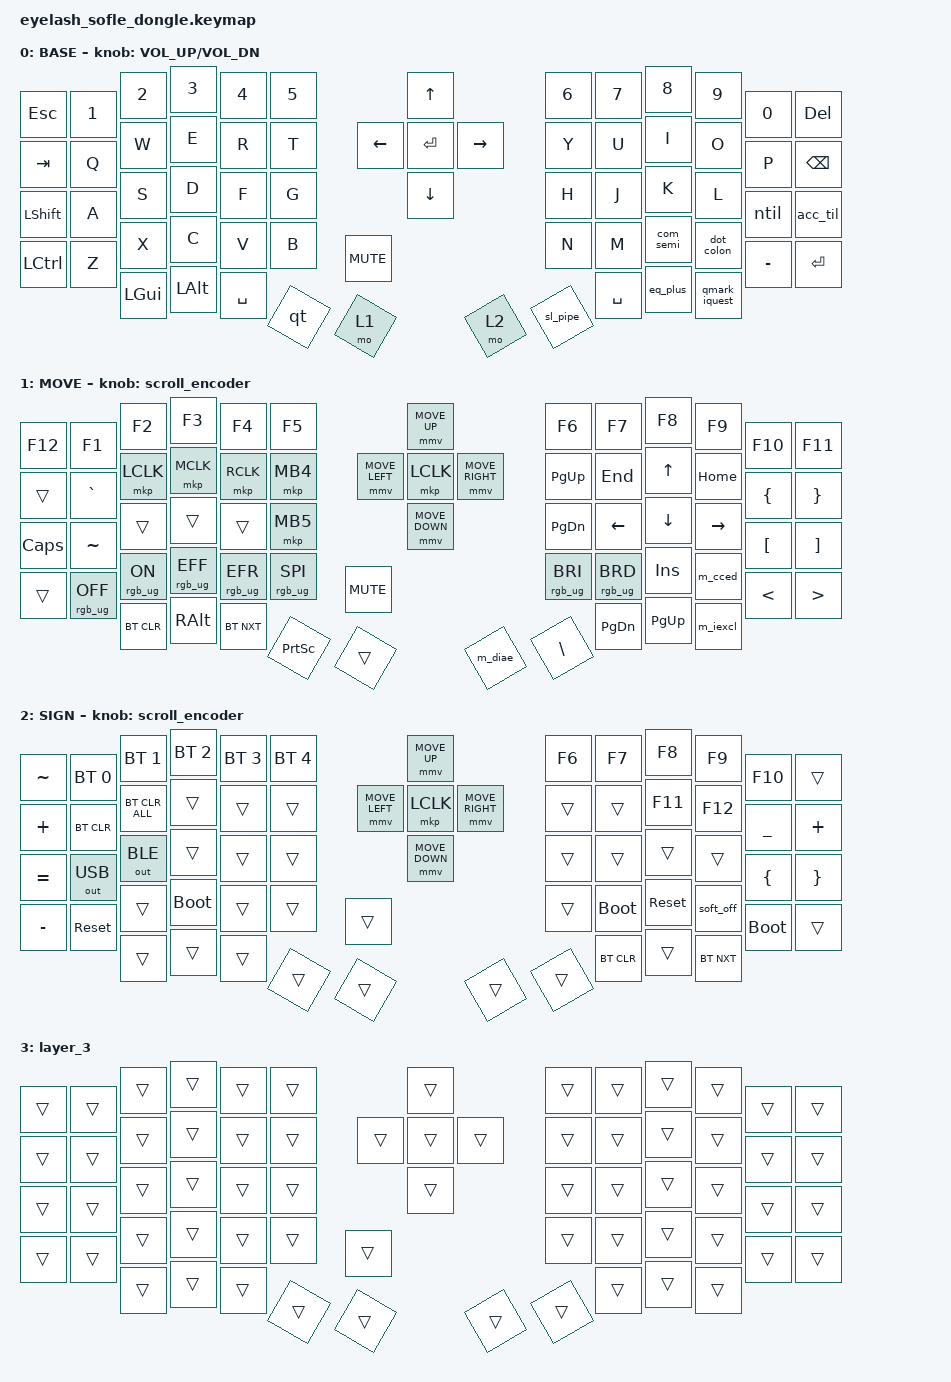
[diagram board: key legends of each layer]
#define ZMK_POINTING_DEFAULT_MOVE_VAL 1200  // 600
#define ZMK_POINTING_DEFAULT_SCRL_VAL 25   // 10

#include <input/processors.dtsi>
#include <zephyr/dt-bindings/input/input-event-codes.h>
#include <behaviors.dtsi>
#include <dt-bindings/zmk/bt.h>
#include <dt-bindings/zmk/keys.h>
#include <dt-bindings/zmk/outputs.h>
#include <dt-bindings/zmk/pointing.h>
#include <dt-bindings/zmk/rgb.h>

&mmv_input_listener { input-processors = <&zip_xy_scaler 2 1>; };

&msc_input_listener { input-processors = <&zip_scroll_scaler 2 1>; };

&msc {
    acceleration-exponent = <1>;      // 0
    time-to-max-speed-ms = <100>;       // 300
    delay-ms = <0>;                   // 0
};

&mmv {
    time-to-max-speed-ms = <500>;
    acceleration-exponent = <1>;
    trigger-period-ms = <16>;
};

&soft_off { hold-time-ms = <2000>; };

/ {
    scroll_encoder: scroll_encoder {
        compatible = "zmk,behavior-sensor-rotate";
        #sensor-binding-cells = <0>;
        bindings = <&msc SCRL_DOWN>, <&msc SCRL_UP>;

        tap-ms = <100>;
    };

    macros {
        m_ntil: m_ntil {
            compatible = "zmk,behavior-macro";
            #binding-cells = <0>;
            bindings = <&kp TILDE &kp N>;
        };

        m_ntil_upper: m_ntil_upper {
            compatible = "zmk,behavior-macro";
            #binding-cells = <0>;
            bindings = <&kp TILDE &kp LS(N)>;
        };

        dquote: dquote {
            compatible = "zmk,behavior-macro";
            #binding-cells = <0>;
            bindings = <&kp DOUBLE_QUOTES &kp SPACE>;
        };

        m_squote: m_squote {
            compatible = "zmk,behavior-macro";
            #binding-cells = <0>;
            bindings = <&kp SINGLE_QUOTE &kp SPACE>;
        };

        m_grave: m_grave {
            compatible = "zmk,behavior-macro";
            #binding-cells = <0>;
            bindings = <&kp GRAVE &kp SPACE>;
        };

        m_cced: m_cced {
            compatible = "zmk,behavior-macro";
            #binding-cells = <0>;
            bindings = <&kp RA(COMMA)>;
        };

        m_iexcl: m_iexcl {
            compatible = "zmk,behavior-macro";
            #binding-cells = <0>;
            bindings = <&kp RA(N1)>;
        };

        m_diae: m_diae {
            compatible = "zmk,behavior-macro";
            #binding-cells = <0>;
            bindings = <&kp LS(LEFT_BRACKET) &kp SPACE>;
        };
    };

    behaviors {
        ntil: ntil {
            compatible = "zmk,behavior-mod-morph";
            #binding-cells = <0>;
            bindings = <&m_ntil>, <&m_ntil_upper>;

            mods = <(MOD_LSFT|MOD_RSFT)>;
        };

        // / (no shift) and | (shift)

        sl_pipe: sl_pipe {
            compatible = "zmk,behavior-mod-morph";
            #binding-cells = <0>;
            bindings = <&kp SLASH>, <&kp PIPE>;

            mods = <(MOD_LSFT|MOD_RSFT)>;
        };

        // . (no shift) and : (shift)

        dot_colon: dot_colon {
            compatible = "zmk,behavior-mod-morph";
            #binding-cells = <0>;
            bindings = <&kp DOT>, <&kp COLON>;

            mods = <(MOD_LSFT|MOD_RSFT)>;
        };

        // , (no shift) and ; (shift)

        com_semi: com_semi {
            compatible = "zmk,behavior-mod-morph";
            #binding-cells = <0>;
            bindings = <&kp COMMA>, <&kp SEMICOLON>;

            mods = <(MOD_LSFT|MOD_RSFT)>;
        };

        // dead acute (no shift) → á é í ó ú | ` (shift)

        acc_til: acc_til {
            compatible = "zmk,behavior-mod-morph";
            #binding-cells = <0>;
            bindings = <&kp SINGLE_QUOTE>, <&m_grave>;

            mods = <(MOD_LSFT|MOD_RSFT)>;
        };

        // " (no shift) and ` (shift)

        qt: qt {
            compatible = "zmk,behavior-mod-morph";
            #binding-cells = <0>;
            bindings = <&dquote>, <&kp CARET>;

            mods = <(MOD_LSFT|MOD_RSFT)>;
        };

        // ? (no shift) and ¿ (shift)
        // RA(FSLH) is AltGr+/ → ¿ on ES layout. Adjust if needed.

        qmark_iquest: qmark_iquest {
            compatible = "zmk,behavior-mod-morph";
            #binding-cells = <0>;
            bindings = <&kp QUESTION>, <&kp RA(FSLH)>;

            mods = <(MOD_LSFT|MOD_RSFT)>;
        };

        // $ (no shift) and € (shift)

        dol_eur: dol_eur {
            compatible = "zmk,behavior-mod-morph";
            #binding-cells = <0>;
            bindings = <&kp DOLLAR>, <&kp RA(N5)>;

            mods = <(MOD_LSFT|MOD_RSFT)>;
        };

        // = (no shift) and + (shift)

        eq_plus: eq_plus {
            compatible = "zmk,behavior-mod-morph";
            #binding-cells = <0>;
            bindings = <&kp EQUAL>, <&kp PLUS>;

            mods = <(MOD_LSFT|MOD_RSFT)>;
        };
    };

    combos {
        compatible = "zmk,combos";

        softoff {
            bindings = <&soft_off>;
            key-positions = <14 28 40>;
        };
    };

    keymap {
        compatible = "zmk,keymap";

        layer0 {
            bindings = <
&kp ESC           &kp N1    &kp N2        &kp N3     &kp N4  &kp N5    &kp UP_ARROW     &kp N6  &kp N7    &kp N8     &kp N9      &kp N0         &kp DELETE
&kp TAB           &kp Q     &kp W         &kp E      &kp R   &kp T     &kp DOWN_ARROW   &kp Y   &kp U     &kp I      &kp O       &kp P          &kp BACKSPACE
&kp LEFT_SHIFT    &kp A     &kp S         &kp D      &kp F   &kp G     &kp LEFT_ARROW   &kp H   &kp J     &kp K      &kp L       &ntil          &acc_til
&kp LEFT_CONTROL  &kp Z     &kp X         &kp C      &kp V   &kp B     &kp RIGHT_ARROW  &kp N   &kp M     &com_semi  &dot_colon  &kp MINUS      &kp ENTER
&kp C_MUTE        &kp LGUI  &kp LEFT_ALT  &kp SPACE  &qt     &mo 1     &kp ENTER        &mo 2   &sl_pipe  &kp SPACE  &eq_plus    &qmark_iquest
            >;

            sensor-bindings = <&inc_dec_kp C_VOLUME_UP C_VOL_DN>;
            display-name = "BASE";
        };

        layer_1 {
            bindings = <
&kp F12       &kp F1           &kp F2          &kp F3           &kp F4           &kp F5             &mmv MOVE_UP     &kp F6           &kp F7           &kp F8         &kp F9      &kp F10           &kp F11
&trans        &kp GRAVE        &mkp LCLK       &mkp MCLK        &mkp RCLK        &mkp MB4           &mmv MOVE_DOWN   &kp PG_UP        &kp END          &kp UP         &kp HOME    &kp LEFT_BRACE    &kp RIGHT_BRACE
&kp CAPSLOCK  &kp TILDE        &trans          &trans           &trans           &mkp MB5           &mmv MOVE_LEFT   &kp PG_DN        &kp LEFT         &kp DOWN       &kp RIGHT   &kp LEFT_BRACKET  &kp RIGHT_BRACKET
&trans        &rgb_ug RGB_OFF  &rgb_ug RGB_ON  &rgb_ug RGB_EFF  &rgb_ug RGB_EFR  &rgb_ug RGB_SPI    &mmv MOVE_RIGHT  &rgb_ug RGB_BRI  &rgb_ug RGB_BRD  &kp INSERT     &m_cced     &kp LESS_THAN     &kp GREATER_THAN
&kp C_MUTE    &bt BT_CLR       &kp RALT        &bt BT_NXT       &kp PRINTSCREEN  &trans             &mkp LCLK        &m_diae          &kp BACKSLASH    &kp PAGE_DOWN  &kp PG_UP   &m_iexcl
            >;

            display-name = "MOVE";
            sensor-bindings = <&scroll_encoder>;
        };

        layer_2 {
            bindings = <
&kp TILDE  &bt BT_SEL 0  &bt BT_SEL 1    &bt BT_SEL 2  &bt BT_SEL 3  &bt BT_SEL 4    &mmv MOVE_UP     &kp F6  &kp F7       &kp F8      &kp F9     &kp F10      &trans
&kp PLUS   &bt BT_CLR    &bt BT_CLR_ALL  &trans        &trans        &trans          &mmv MOVE_DOWN   &trans  &trans       &kp F11     &kp F12    &kp UNDER    &kp PLUS
&kp EQUAL  &out OUT_USB  &out OUT_BLE    &trans        &trans        &trans          &mmv MOVE_LEFT   &trans  &trans       &trans      &trans     &kp LBRC     &kp RBRC
&kp MINUS  &sys_reset    &trans          &bootloader   &trans        &trans          &mmv MOVE_RIGHT  &trans  &bootloader  &sys_reset  &soft_off  &bootloader  &trans
&trans     &trans        &trans          &trans        &trans        &trans          &mkp LCLK        &trans  &trans       &bt BT_CLR  &trans     &bt BT_NXT
            >;

            display-name = "SIGN";
            sensor-bindings = <&scroll_encoder>;
        };

        layer_3 {
            bindings = <
&trans  &trans  &trans  &trans  &trans  &trans    &trans  &trans  &trans  &trans  &trans  &trans  &trans
&trans  &trans  &trans  &trans  &trans  &trans    &trans  &trans  &trans  &trans  &trans  &trans  &trans
&trans  &trans  &trans  &trans  &trans  &trans    &trans  &trans  &trans  &trans  &trans  &trans  &trans
&trans  &trans  &trans  &trans  &trans  &trans    &trans  &trans  &trans  &trans  &trans  &trans  &trans
&trans  &trans  &trans  &trans  &trans  &trans    &trans  &trans  &trans  &trans  &trans  &trans
            >;
        };
    };
};
